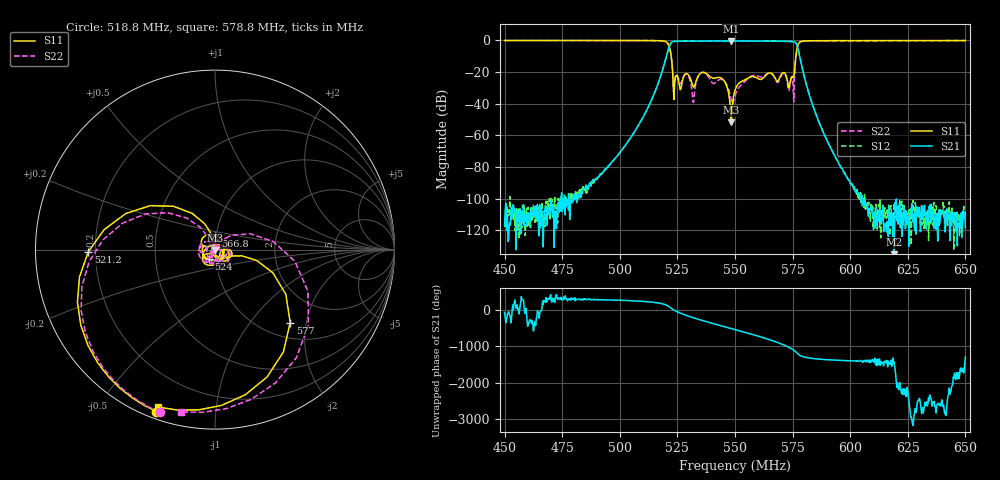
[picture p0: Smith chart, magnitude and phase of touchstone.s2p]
#  HZ  S  DB  R  50.00
! Rohde & Schwarz Vector Network Analyzer
! Rohde-Schwarz,ZNA43-4Port,1332450044102076,2.92
! Created: UTC 5/14/2024, 7:15:00 PM
! (2.92) P1 SRC, P2 STD, B21 40, B31 0, B501 On, B32 0, B302 Off, 271 pts, 3th, 2 GHz, 10 ms, 25 ms, 0.5 ms, 0.1 ms, Ext Att P1 6 P2 6, LN
! freq[Hz]  db:S11  ang:S11  db:S21  ang:S21  db:S12  ang:S12  db:S22  ang:S22
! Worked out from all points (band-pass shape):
!   801 points, 450 MHz to 650 MHz, reference 50 ohm
!   highest |S21| = -0.33 dB at 548.2 MHz (marker M1); lowest = -145.5 dB at 619 MHz (marker M2)
!   |S21| within 3 dB of the highest: 521.6 MHz to 577 MHz (55.41 MHz wide, 10.1 % of centre)
!   lowest |S11| = -51.7 dB at 548.2 MHz (marker M3), VSWR 1.01, Z = 50.1 - j0.253 ohm
!   |S11| at or under -10 dB: 522.3 MHz to 576.4 MHz (54.14 MHz wide, 9.86 % of centre)
!   |S22| runs from -40.2 to 0.0 dB; largest |S21 - S12| = 0.00055
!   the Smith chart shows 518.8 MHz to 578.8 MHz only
!   S11 on the Smith chart (normalised r, x): 518.8 MHz: 0.03, -0.70; 521.2 MHz: 0.17, -0.01; 524 MHz: 0.93, -0.10; 566.8 MHz: 0.99, +0.16; 577 MHz: 1.31, -1.62; 578.8 MHz: 0.05, -0.70
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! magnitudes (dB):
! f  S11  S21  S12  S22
! 450 MHz  0.0  -116.7  -111.9  0.0
! 483.5 MHz  0.0  -94.6  -93.7  0.0
! 495.8 MHz  0.0  -78.4  -78.5  0.0
! 516.8 MHz  -0.2  -26.7  -26.7  -0.2
! 518.8 MHz  -0.4  -17.7  -17.8  -0.4
! 521.2 MHz  -3.0  -4.7  -4.7  -3.0
! 524 MHz  -24.1  -0.6  -0.6  -23.7
! 529.2 MHz  -21.1  -0.4  -0.4  -21.7
! 532 MHz  -29.5  -0.4  -0.4  -39.2
! 535.5 MHz  -20.3  -0.4  -0.4  -20.3
! 543.8 MHz  -23.6  -0.3  -0.4  -24.6
! 548.2 MHz  -51.7  -0.3  -0.3  -37.0
! 550 MHz  -31.6  -0.3  -0.3  -35.0
! 566.8 MHz  -22.2  -0.5  -0.5  -22.4
! 574.5 MHz  -23.2  -0.7  -0.7  -23.9
! 577 MHz  -4.7  -3.4  -3.4  -4.9
! 578.8 MHz  -0.6  -14.6  -14.6  -0.7
! 583.5 MHz  -0.2  -40.0  -40.0  -0.3
! 596 MHz  -0.1  -80.1  -80.1  -0.2
! 616.8 MHz  -0.1  -109.7  -103.6  -0.1
! 619 MHz  -0.1  -145.5  -103.9  -0.1
! 650 MHz  -0.1  -118.3  -114.4  -0.1
